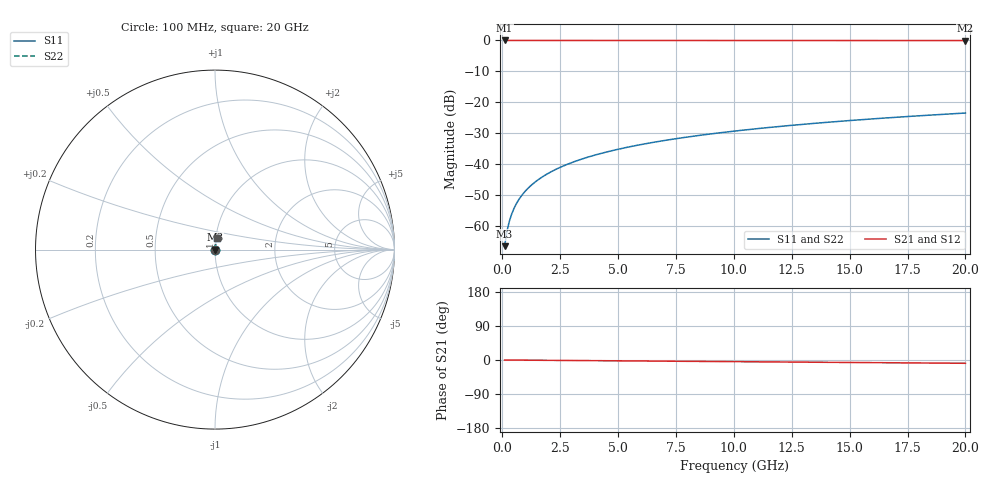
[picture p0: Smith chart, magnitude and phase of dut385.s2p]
! Touchstone file exported from HFSS 2026.1.0
!  File:  C:/ffzhzh/LocalFiles/Ansys_Project_Files/temp_train_TSV_385_1783019886_46388.aedt
!  Generated:  03:20:15 AM Jul  3, 2026
!  Design:  TSV
!  Project:  temp_train_TSV_385_1783019886_46388
! Variables:
!  h_bsmrdl = 2um
!  h_ox = 20um
!  h_rdl = 5um
!  h_sub = 74.45um
!  h_tmrdl = 5um
!  h_tsv = 74.45um
!  h_via = 3um
!  l_bsmrdl = 300um
!  l_sub = 411.98um
!  l_tmrdl = 200um
!  m_sub = 200um
!  pitch = 47.05um
!  r_tsv = 5.99um
!  s_tmrdl = 10um
!  w_bsmrdl = 18um
!  w_sub = 500um
!  w_tmrdl = 12um
!  x_tsv_center1 = 206um
!  x_tsv_center2 = 524um
!  x_tsv_center3 = 736um
!  x_tsv_center4 = 1054um
!  x_tsv_center5 = 1266um
!  x_tsv_center6 = 1584um
# GHz S MA R 50.000000
! Terminal data exported
! Port[1] = TSV1_1_T1
! Port[2] = TSV1_1_T2
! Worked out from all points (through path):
!   200 points, 100 MHz to 20 GHz, reference 50 ohm
!   highest |S21| = 0.00 dB at 100 MHz (marker M1); lowest = 0.0 dB at 20 GHz (marker M2)
!   group delay of S21, straight-line fit = 1.2 ps
!   lowest |S11| = -66.7 dB at 100 MHz (marker M3), VSWR 1.00, Z = 50 + j0.0375 ohm
!   |S11| at or under -10 dB: start of sweep to end of sweep
!   |S22| runs from -66.7 to -23.5 dB; largest |S21 - S12| = 6.2e-15
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0.1  0.0004631 54.1  0.9997 -0.0  0.9997 -0.0  0.0004631 54.1
! Gamma 0 0 0 0
! Port Impedance 50 0 50 0
0.2  0.0007997 69.4  0.9997 -0.1  0.9997 -0.1  0.0007997 69.4
0.3  0.001157 75.2  0.9997 -0.1  0.9997 -0.1  0.001157 75.2
0.4  0.001518 78.0  0.9997 -0.2  0.9997 -0.2  0.001518 78.0
0.5  0.001877 79.7  0.9997 -0.2  0.9997 -0.2  0.001877 79.7
0.6  0.002233 80.7  0.9996 -0.3  0.9996 -0.3  0.002233 80.7
0.7  0.002587 81.5  0.9996 -0.3  0.9996 -0.3  0.002587 81.5
0.8  0.002938 82.1  0.9996 -0.4  0.9996 -0.4  0.002938 82.1
1  0.003634 82.9  0.9996 -0.4  0.9996 -0.4  0.003634 82.9
1.4  0.005013 83.9  0.9995 -0.6  0.9995 -0.6  0.005013 83.9
1.7  0.006043 84.3  0.9995 -0.8  0.9995 -0.8  0.006043 84.3
2  0.00707 84.6  0.9994 -0.9  0.9994 -0.9  0.00707 84.6
2.7  0.00946 85.0  0.9993 -1.2  0.9993 -1.2  0.00946 85.0
3.5  0.01218 85.1  0.9992 -1.5  0.9992 -1.5  0.01218 85.1
4.2  0.01454 85.0  0.9991 -1.8  0.9991 -1.8  0.01454 85.0
5  0.01723 84.9  0.999 -2.2  0.999 -2.2  0.01723 84.9
6.8  0.02325 84.5  0.9987 -3.0  0.9987 -3.0  0.02325 84.5
8.3  0.02823 84.1  0.9985 -3.6  0.9985 -3.6  0.02823 84.1
10.1  0.03419 83.5  0.9982 -4.4  0.9982 -4.4  0.03419 83.5
13.4  0.04507 82.4  0.9976 -5.8  0.9976 -5.8  0.04507 82.4
16.7  0.05588 81.1  0.9969 -7.3  0.9969 -7.3  0.05588 81.1
20  0.0666 79.8  0.996 -8.7  0.996 -8.7  0.0666 79.8
